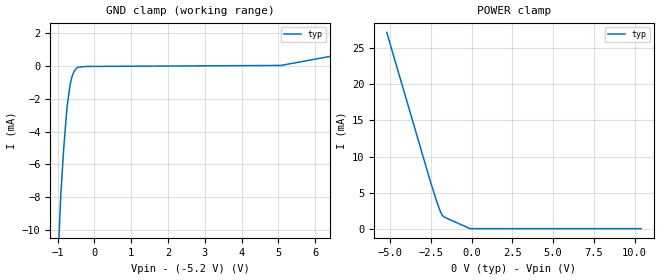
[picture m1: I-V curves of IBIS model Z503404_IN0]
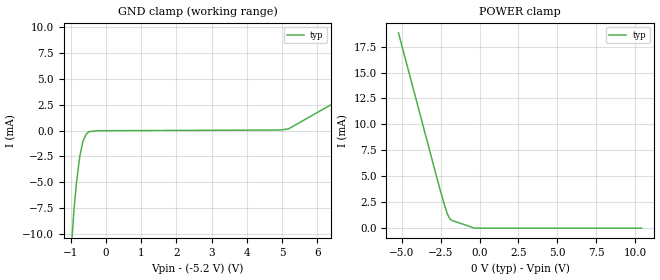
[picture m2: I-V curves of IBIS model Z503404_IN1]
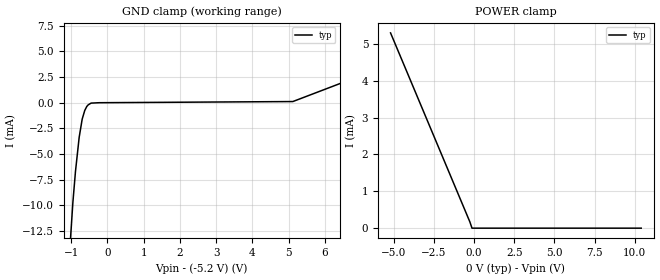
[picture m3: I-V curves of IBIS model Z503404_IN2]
| YOU ARE ONLY AUTHORIZED TO USE THIS SOFTWARE
| ACCORDING TO LICENSOR'S LICENSE RESTRICTIONS.
[IBIS Ver] 3.1
[File Name] mc100e143fn.ibs
[File Rev] 0.1
[Source] Derived from mc100e143fn.ibs measured and
|   created by ICX Technology
[Date] 7/19/2002
[Copyright]
| (C) COPYRIGHT 1993-2000
| MENTOR GRAPHICS CORPORATION
| ICX STANDARD LIBRARY, ICX PROJECT MODELING,
| ICX CUSTOM MODELING, ICX VENDOR MODEL
| ALL RIGHTS RESERVED.
| THE FOLLOWING ARE TRADEMARKS OR SERVICE MARKS OF
| MENTOR GRAPHICS CORPORATION:ICX (R), ICX STANDARD
| LIBRARY(R), ICX PROJECT MODELING(R), ICX CUSTOM
| MODELING(R), qualityIBIS(TM), MODELVIEWER(TM),
| AND MODELEDITOR(TM)
| ALL COPIES OF SOFTWARE, INCLUDING BUT NOT LIMITED TO
| ANY MODIFICATIONS, ENHANCEMENTS OR DERIVATIVE WORKS,
| MUST CONTAIN ALL MENTOR GRAPHICS CORPORATION'S
| NOTICES AND LEGENDS, INCLUDING THOSE EMBEDDED IN
| SOFTWARE AND THOSE AFFIXED TO SOFTWARE MEDIUM
| AND CONTAINER, AS RECEIVED FROM MENTOR GRAPHICS
| CORPORATION.
|  ZAP Model Builder 2.7
[Component] MC100E143FN
[Manufacturer] OnSemiconductor
[Package]
| variable   typ   min   max
R_pkg  .083ohms NA NA
L_pkg  4.299nH NA NA
C_pkg  1.045pF NA NA
[Pin] signal_name  model_name  R_pin  L_pin C_pin
1 VEE POWER .08 3.94n .925p
2 NC NC .082 4.14n .995p
3 D0 Z503404_IN0 .084 4.354n 1.065p
4 D1 Z503404_IN0 .086 4.583n 1.135p
5 D2 Z503404_IN0 .086 4.583n 1.135p
6 D3 Z503404_IN0 .084 4.354n 1.065p
7 D4 Z503404_IN0 .082 4.14n .995p
8 VCCO POWER .08 3.94n .925p
9 Q0 Z503404_OUT0 .082 4.14n .995p
10 Q1 Z503404_OUT0 .084 4.354n 1.065p
11 Q2 Z503404_OUT0 .086 4.583n 1.135p
12 Q3 Z503404_OUT0 .086 4.583n 1.135p
13 Q4 Z503404_OUT0 .084 4.354n 1.065p
14 VCCO POWER .082 4.14n .995p
15 Q5 Z503404_OUT0 .08 3.94n .925p
16 VCC POWER .082 4.14n .995p
17 Q6 Z503404_OUT0 .084 4.354n 1.065p
18 Q7 Z503404_OUT0 .086 4.583n 1.135p
19 Q8 Z503404_OUT0 .086 4.583n 1.135p
20 VCCO POWER .084 4.354n 1.065p
21 D5 Z503404_IN0 .082 4.14n .995p
22 D6 Z503404_IN0 .08 3.94n .925p
23 D7 Z503404_IN0 .082 4.14n .995p
24 D8 Z503404_IN0 .084 4.354n 1.065p
25 SEL Z503404_IN1 .086 4.583n 1.135p
26 MR Z503404_IN2 .086 4.583n 1.135p
27 CLK1 Z503404_IN3 .084 4.354n 1.065p
28 CLK2 Z503404_IN3 .082 4.14n .995p
| Models and submodels in the file (5): Z503404_IN0 (Input_ECL), Z503404_IN1 (Input_ECL), Z503404_IN2 (Input_ECL), Z503404_IN3 (Input_ECL), Z503404_OUT0 (Output_ECL)
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| (C) COPYRIGHT 1993-2000
| MENTOR GRAPHICS CORPORATION
| ICX STANDARD LIBRARY, ICX PROJECT MODELING,
| ICX CUSTOM MODELING, ICX VENDOR MODEL
| ALL RIGHTS RESERVED.
| THE FOLLOWING ARE TRADEMARKS OR SERVICE MARKS OF
| MENTOR GRAPHICS CORPORATION:ICX (R), ICX STANDARD
| LIBRARY(R), ICX PROJECT MODELING(R), ICX CUSTOM
| MODELING(R), qualityIBIS(TM), MODELVIEWER(TM),
| AND MODELEDITOR(TM)
| ALL COPIES OF SOFTWARE, INCLUDING BUT NOT LIMITED TO
| ANY MODIFICATIONS, ENHANCEMENTS OR DERIVATIVE WORKS,
| MUST CONTAIN ALL MENTOR GRAPHICS CORPORATION'S
| NOTICES AND LEGENDS, INCLUDING THOSE EMBEDDED IN
| SOFTWARE AND THOSE AFFIXED TO SOFTWARE MEDIUM
| AND CONTAINER, AS RECEIVED FROM MENTOR GRAPHICS
| CORPORATION.
| Model Application Version 1.89 2/18/99.
[Model] Z503404_IN0
Model_type Input_ECL
Vinl = -1.480V
Vinh = -1.130V
C_comp 4.000pF NA NA
| variable typ   min   max
[Voltage Range] -5.200V NA NA
[GND Clamp Reference] -5.200V NA NA
[POWER Clamp Reference] 0.000V NA NA
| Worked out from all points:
|   GND clamp passes 1 mA (typ) near -0.65 V on its own axis
[GND Clamp]
-5.2V     -316.9mA   NA         NA
-1.068V   -15.95mA   NA         NA
-912mV    -7.797mA   NA         NA
-836mV    -5.067mA   NA         NA
-746mV    -2.534mA   NA         NA
-659mV    -1.106mA   NA         NA
-605mV    -604.8uA   NA         NA
-545mV    -288.4uA   NA         NA
-469mV    -80.06uA   NA         NA
-234.5mV  -20.06uA   NA         NA
5.069V    42.22uA    NA         NA
10.4V     2.258mA    NA         NA
[POWER Clamp]
-5.2V     27.2mA     NA         NA
-2.564V   6.849mA    NA         NA
-2.175V   4.041mA    NA         NA
-1.948V   2.579mA    NA         NA
-1.801V   1.86mA     NA         NA
-1.661V   1.585mA    NA         NA
-227.1mV  143.2uA    NA         NA
-113.5mV  0A         NA         NA
10.4V     0A         NA         NA
| (C) COPYRIGHT 1993-2000
| MENTOR GRAPHICS CORPORATION
| ICX STANDARD LIBRARY, ICX PROJECT MODELING,
| ICX CUSTOM MODELING, ICX VENDOR MODEL
| ALL RIGHTS RESERVED.
| THE FOLLOWING ARE TRADEMARKS OR SERVICE MARKS OF
| MENTOR GRAPHICS CORPORATION:ICX (R), ICX STANDARD
| LIBRARY(R), ICX PROJECT MODELING(R), ICX CUSTOM
| MODELING(R), qualityIBIS(TM), MODELVIEWER(TM),
| AND MODELEDITOR(TM)
| ALL COPIES OF SOFTWARE, INCLUDING BUT NOT LIMITED TO
| ANY MODIFICATIONS, ENHANCEMENTS OR DERIVATIVE WORKS,
| MUST CONTAIN ALL MENTOR GRAPHICS CORPORATION'S
| NOTICES AND LEGENDS, INCLUDING THOSE EMBEDDED IN
| SOFTWARE AND THOSE AFFIXED TO SOFTWARE MEDIUM
| AND CONTAINER, AS RECEIVED FROM MENTOR GRAPHICS
| CORPORATION.
| Model Application Version 1.89 2/18/99.
[Model] Z503404_IN1
Model_type Input_ECL
Vinl = -1.480V
Vinh = -1.130V
C_comp 4.000pF NA NA
| variable typ   min   max
[Voltage Range] -5.200V NA NA
[GND Clamp Reference] -5.200V NA NA
[POWER Clamp Reference] 0.000V NA NA
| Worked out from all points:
|   GND clamp passes 1 mA (typ) near -0.65 V on its own axis
|   POWER clamp passes 1 mA (typ) near -1.94 V on its own axis
[GND Clamp]
-5.2V     -313.3mA   NA         NA
-1.057V   -14.99mA   NA         NA
-913mV    -7.695mA   NA         NA
-838mV    -4.997mA   NA         NA
-746mV    -2.492mA   NA         NA
-659mV    -1.076mA   NA         NA
-567mV    -369.3uA   NA         NA
-488mV    -110.3uA   NA         NA
-244mV    -19.91uA   NA         NA
4.972V    50.39uA    NA         NA
5.19V     168.9uA    NA         NA
10.4V     10.26mA    NA         NA
[POWER Clamp]
-5.2V     18.82mA    NA         NA
-2.554V   3.822mA    NA         NA
-2.183V   1.904mA    NA         NA
-2.05V    1.322mA    NA         NA
-1.914V   906.3uA    NA         NA
-1.763V   736.7uA    NA         NA
-651.6mV  180.7uA    NA         NA
-325.8mV  0A         NA         NA
10.4V     0A         NA         NA
| (C) COPYRIGHT 1993-2000
| MENTOR GRAPHICS CORPORATION
| ICX STANDARD LIBRARY, ICX PROJECT MODELING,
| ICX CUSTOM MODELING, ICX VENDOR MODEL
| ALL RIGHTS RESERVED.
| THE FOLLOWING ARE TRADEMARKS OR SERVICE MARKS OF
| MENTOR GRAPHICS CORPORATION:ICX (R), ICX STANDARD
| LIBRARY(R), ICX PROJECT MODELING(R), ICX CUSTOM
| MODELING(R), qualityIBIS(TM), MODELVIEWER(TM),
| AND MODELEDITOR(TM)
| ALL COPIES OF SOFTWARE, INCLUDING BUT NOT LIMITED TO
| ANY MODIFICATIONS, ENHANCEMENTS OR DERIVATIVE WORKS,
| MUST CONTAIN ALL MENTOR GRAPHICS CORPORATION'S
| NOTICES AND LEGENDS, INCLUDING THOSE EMBEDDED IN
| SOFTWARE AND THOSE AFFIXED TO SOFTWARE MEDIUM
| AND CONTAINER, AS RECEIVED FROM MENTOR GRAPHICS
| CORPORATION.
| Model Application Version 1.89 2/18/99.
[Model] Z503404_IN2
Model_type Input_ECL
Vinl = -1.480V
Vinh = -1.130V
C_comp 4.000pF NA NA
| variable typ   min   max
[Voltage Range] -5.200V NA NA
[GND Clamp Reference] -5.200V NA NA
[POWER Clamp Reference] 0.000V NA NA
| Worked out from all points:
|   GND clamp passes 1 mA (typ) near -0.64 V on its own axis
[GND Clamp]
-5.2V     -321.5mA   NA         NA
-1.054V   -15.34mA   NA         NA
-951mV    -9.756mA   NA         NA
-879mV    -6.718mA   NA         NA
-777mV    -3.39mA    NA         NA
-694mV    -1.618mA   NA         NA
-623mV    -771.3uA   NA         NA
-567mV    -382.6uA   NA         NA
-449mV    -56.17uA   NA         NA
5.112V    95.57uA    NA         NA
10.4V     7.228mA    NA         NA
[POWER Clamp]
-5.2V     5.298mA    NA         NA
-262.3mV  168.9uA    NA         NA
-131.2mV  0A         NA         NA
10.4V     0A         NA         NA
